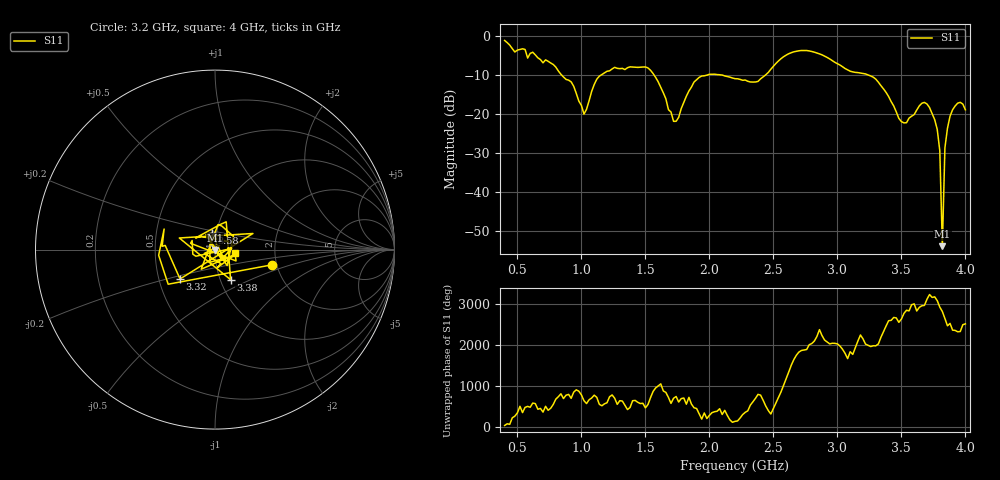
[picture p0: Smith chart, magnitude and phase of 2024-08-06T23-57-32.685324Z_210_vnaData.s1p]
!Created with skrf (http://scikit-rf.org).
# Hz S RI R 50.0
!freq ReS11 ImS11
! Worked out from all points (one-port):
!   181 points, 400 MHz to 4 GHz, reference 50 ohm
!   lowest |S11| = -53.9 dB at 3.82 GHz (marker M1), VSWR 1.00, Z = 50.1 - j0.185 ohm
!   |S11| at or under -10 dB: 1.567 GHz to 1.988 GHz (421.1 MHz wide, 23.7 % of centre); 2.085 GHz to 2.44 GHz (355.6 MHz wide, 15.7 % of centre); 3.238 GHz to end of sweep (the widest 3 of 4)
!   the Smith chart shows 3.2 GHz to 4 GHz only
!   S11 on the Smith chart (normalised r, x): 3.2 GHz: 1.89, -0.36; 3.32 GHz: 0.64, -0.23; 3.38 GHz: 1.12, -0.39; 3.58 GHz: 0.95, +0.18; 4 GHz: 1.25, -0.04
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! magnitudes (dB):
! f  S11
! 400 MHz  -1.2
! 860 MHz  -10.6
! 940 MHz  -12.9
! 1.02 GHz  -20.1
! 1.12 GHz  -11.1
! 1.3 GHz  -8.4
! 1.52 GHz  -8.2
! 1.72 GHz  -21.9
! 1.76 GHz  -20.9
! 1.92 GHz  -10.7
! 2.2 GHz  -11.0
! 2.38 GHz  -11.7
! 2.66 GHz  -4.1
! 3.1 GHz  -9.1
! 3.2 GHz  -9.7
! 3.32 GHz  -11.9
! 3.38 GHz  -14.5
! 3.5 GHz  -22.0
! 3.56 GHz  -21.1
! 3.58 GHz  -20.6
! 3.68 GHz  -17.1
! 3.78 GHz  -24.0
! 3.8 GHz  -29.4
! 3.82 GHz  -53.9
! 3.84 GHz  -28.7
! 3.86 GHz  -23.7
! 3.94 GHz  -17.3
! 4 GHz  -19.0
